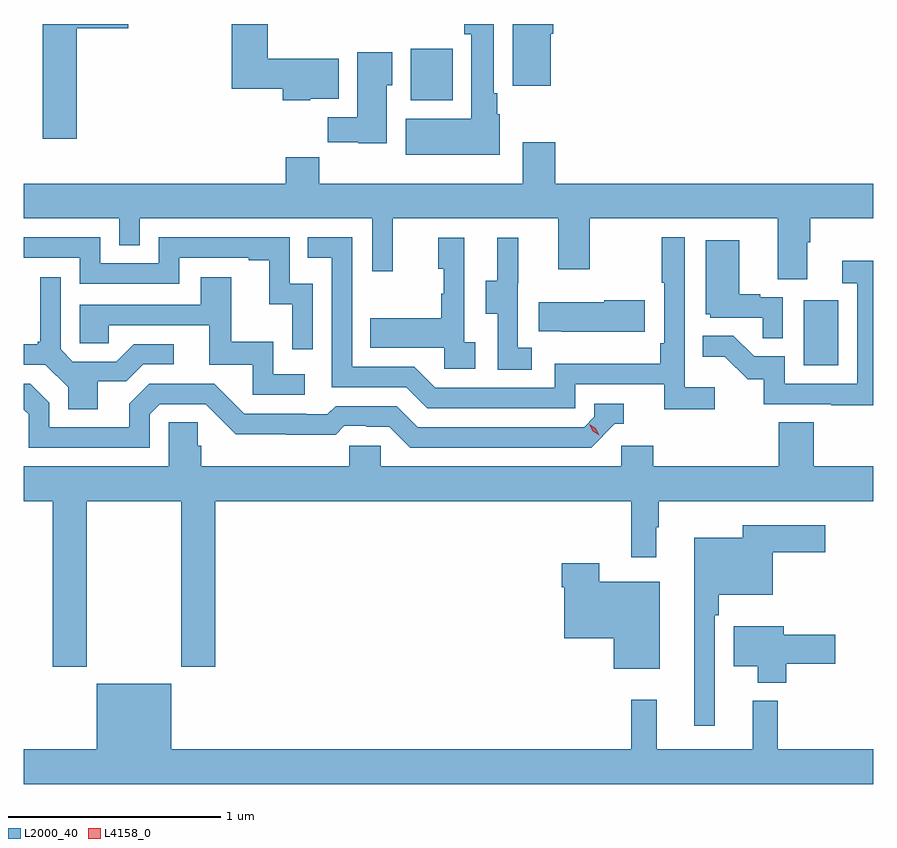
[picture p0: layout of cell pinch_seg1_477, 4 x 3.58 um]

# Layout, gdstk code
import gdstk
lib = gdstk.Library(unit=1e-6, precision=1e-09)
def R(c, l, rs):  # rectangles x0, y0, x1, y1
    for r in rs: c.add(gdstk.rectangle(r[:2], r[2:], *l))
def P(c, l, *ps):  # polygons
    for p in ps: c.add(gdstk.Polygon(p, *l))
L2000_40 = (2000, 40)
L4158_0 = (4158, 0)

pinch_seg1_477 = lib.new_cell('pinch_seg1_477')
R(pinch_seg1_477, L2000_40, [(1106.642,533.724,1106.806,534.031), (1104.791,534.974,1104.988,535.216)])
P(pinch_seg1_477, L2000_40, [(1105.45,535.286),(1105.463,535.286),(1105.463,535.332),(1105.271,535.332),(1105.271,535.04),(1105.45,535.04)],
  [(1104.318,534.98),(1104.451,534.98),(1104.451,535.168),(1104.118,535.168),(1104.118,535.332),(1103.948,535.332),(1103.948,535.028),(1104.188,535.028),(1104.188,534.974),(1104.318,534.974)],
  [(1103.218,535.313),(1103.461,535.313),(1103.461,535.332),(1103.057,535.332),(1103.057,534.792),(1103.218,534.792)],
  [(1105.21,534.906),(1105.198,534.906),(1105.198,535.006),(1105.183,535.006),(1105.183,535.332),(1105.043,535.332),(1105.043,535.283),(1105.076,535.283),(1105.076,534.886),(1104.767,534.886),(1104.767,534.716),(1105.21,534.716)],
  [(1104.679,535.044),(1104.703,535.044),(1104.703,535.198),(1104.539,535.198),(1104.539,534.892),(1104.4,534.892),(1104.4,534.774),(1104.543,534.774),(1104.543,534.77),(1104.679,534.77)],
  [(1106.659,534.304),(1106.672,534.304),(1106.672,534.416),(1106.969,534.416),(1106.969,534.58),(1105.472,534.58),(1105.472,534.775),(1105.319,534.775),(1105.319,534.58),(1104.359,534.58),(1104.359,534.704),(1104.203,534.704),(1104.203,534.58),(1102.969,534.58),(1102.969,534.416),(1103.418,534.416),(1103.418,534.289),(1103.514,534.289),(1103.514,534.416),(1104.609,534.416),(1104.609,534.168),(1104.707,534.168),(1104.707,534.416),(1105.487,534.416),(1105.487,534.177),(1105.635,534.177),(1105.635,534.416),(1106.519,534.416),(1106.519,534.13),(1106.659,534.13)],
  [(1106.224,533.62),(1106.082,533.62),(1106.082,534.328),(1105.974,534.328),(1105.974,534.112),(1105.986,534.112),(1105.986,533.827),(1105.966,533.827),(1105.966,533.731),(1105.47,533.731),(1105.47,533.619),(1104.906,533.619),(1104.807,533.718),(1104.516,533.718),(1104.516,534.327),(1104.307,534.327),(1104.307,534.231),(1104.42,534.231),(1104.42,533.622),(1104.77,533.622),(1104.869,533.523),(1105.566,533.523),(1105.566,533.634),(1105.985,533.634),(1105.985,533.518),(1106.224,533.518)],
  [(1104.33,534.108),(1104.222,534.108),(1104.222,534.327),(1103.604,534.327),(1103.604,534.204),(1103.328,534.204),(1103.328,534.327),(1102.969,534.327),(1102.969,534.231),(1103.232,534.231),(1103.232,534.108),(1103.7,534.108),(1103.7,534.231),(1104.029,534.231),(1104.029,534.219),(1104.125,534.219),(1104.125,534.011),(1104.234,534.011),(1104.234,533.799),(1104.33,533.799)],
  [(1105.096,533.834),(1105.044,533.834),(1105.044,534.325),(1104.92,534.325),(1104.92,534.18),(1104.946,534.18),(1104.946,534.062),(1104.936,534.062),(1104.936,533.947),(1104.601,533.947),(1104.601,533.807),(1104.948,533.807),(1104.948,533.709),(1105.096,533.709)],
  [(1105.36,533.807),(1105.296,533.807),(1105.296,534.111),(1105.298,534.111),(1105.298,534.325),(1105.199,534.325),(1105.199,534.123),(1105.145,534.123),(1105.145,533.968),(1105.2,533.968),(1105.2,533.704),(1105.36,533.704)],
  [(1106.544,534.045),(1106.438,534.045),(1106.438,534.058),(1106.338,534.058),(1106.338,534.313),(1106.18,534.313),(1106.18,533.964),(1106.202,533.964),(1106.202,533.949),(1106.449,533.949),(1106.449,533.851),(1106.544,533.851)],
  [(1106.969,534.217),(1106.823,534.217),(1106.823,534.111),(1106.895,534.111),(1106.895,533.637),(1106.553,533.637),(1106.553,533.766),(1106.409,533.766),(1106.311,533.864),(1106.167,533.864),(1106.167,533.765),(1106.271,533.765),(1106.378,533.658),(1106.455,533.658),(1106.455,533.541),(1106.773,533.541),(1106.773,533.536),(1106.969,533.536)],
  [(1104.292,533.682),(1104.144,533.682),(1104.144,533.836),(1103.945,533.836),(1103.945,534.139),(1103.801,534.139),(1103.801,534.009),(1103.232,534.009),(1103.232,533.829),(1103.369,533.829),(1103.369,533.913),(1103.843,533.913),(1103.843,533.727),(1104.048,533.727),(1104.048,533.586),(1104.292,533.586)],
  [(1103.317,533.65),(1103.452,533.65),(1103.532,533.73),(1103.674,533.73),(1103.674,533.823),(1103.486,533.823),(1103.405,533.742),(1103.199,533.742),(1103.142,533.799),(1103.142,534.139),(1103.045,534.139),(1103.045,533.836),(1103.034,533.836),(1103.034,533.824),(1102.969,533.824),(1102.969,533.727),(1103.07,533.727),(1103.177,533.62),(1103.177,533.518),(1103.317,533.518)],
  [(1105.894,534.03),(1105.703,534.03),(1105.703,534.022),(1105.393,534.022),(1105.393,533.885),(1105.501,533.885),(1105.501,533.882),(1105.894,533.882)],
  [(1103.562,533.493),(1103.61,533.541),(1103.826,533.541),(1103.968,533.399),(1104.204,533.399),(1104.204,533.397),(1104.437,533.397),(1104.479,533.439),(1104.582,533.439),(1104.582,533.436),(1104.689,533.436),(1104.788,533.337),(1105.641,533.337),(1105.752,533.448),(1105.795,533.448),(1105.795,533.544),(1105.656,533.544),(1105.656,533.481),(1105.608,533.433),(1104.825,533.433),(1104.726,533.532),(1104.437,533.532),(1104.398,533.493),(1104.299,533.493),(1104.299,533.496),(1104.006,533.496),(1103.865,533.637),(1103.559,533.637),(1103.465,533.543),(1103.465,533.433),(1103.088,533.433),(1103.088,533.547),(1102.998,533.637),(1102.969,533.637),(1102.969,533.516),(1102.992,533.493),(1102.992,533.337),(1103.562,533.337)],
  [(1103.265,533.084),(1103.71,533.084),(1103.71,532.305),(1103.87,532.305),(1103.87,533.084),(1105.831,533.084),(1105.831,532.821),(1105.948,532.821),(1105.948,532.961),(1105.96,532.961),(1105.96,533.084),(1106.969,533.084),(1106.969,533.248),(1106.69,533.248),(1106.69,533.456),(1106.525,533.456),(1106.525,533.248),(1105.934,533.248),(1105.934,533.346),(1105.782,533.346),(1105.782,533.248),(1104.651,533.248),(1104.651,533.346),(1104.501,533.346),(1104.501,533.248),(1103.804,533.248),(1103.804,533.346),(1103.789,533.346),(1103.789,533.456),(1103.652,533.456),(1103.652,533.248),(1102.969,533.248),(1102.969,533.084),(1103.105,533.084),(1103.105,532.305),(1103.265,532.305)],
  [(1106.223,532.547),(1106.243,532.547),(1106.243,532.643),(1106.497,532.643),(1106.497,532.843),(1106.743,532.843),(1106.743,532.972),(1106.354,532.972),(1106.354,532.912),(1106.126,532.912),(1106.126,532.026),(1106.223,532.026)],
  [(1105.963,532.705),(1105.68,532.705),(1105.68,532.792),(1105.502,532.792),(1105.502,532.679),(1105.514,532.679),(1105.514,532.439),(1105.748,532.439),(1105.748,532.295),(1105.963,532.295)],
  [(1106.561,532.318),(1106.791,532.318),(1106.791,532.455),(1106.548,532.455),(1106.548,532.495),(1106.312,532.495),(1106.312,532.307),(1106.426,532.307),(1106.426,532.229),(1106.561,532.229)],
  [(1106.969,531.916),(1106.519,531.916),(1106.519,532.144),(1106.402,532.144),(1106.402,531.916),(1105.949,531.916),(1105.949,532.15),(1105.831,532.15),(1105.831,531.916),(1103.662,531.916),(1103.662,532.225),(1103.312,532.225),(1103.312,531.916),(1102.969,531.916),(1102.969,531.752),(1106.969,531.752)])
P(pinch_seg1_477, L4158_0, [(1105.678,533.395),(1105.648,533.414),(1105.632,533.446),(1105.632,533.447),(1105.632,533.447),(1105.662,533.427),(1105.679,533.395),(1105.679,533.395)])

lib.write_gds('pinch_seg1_477.gds')
